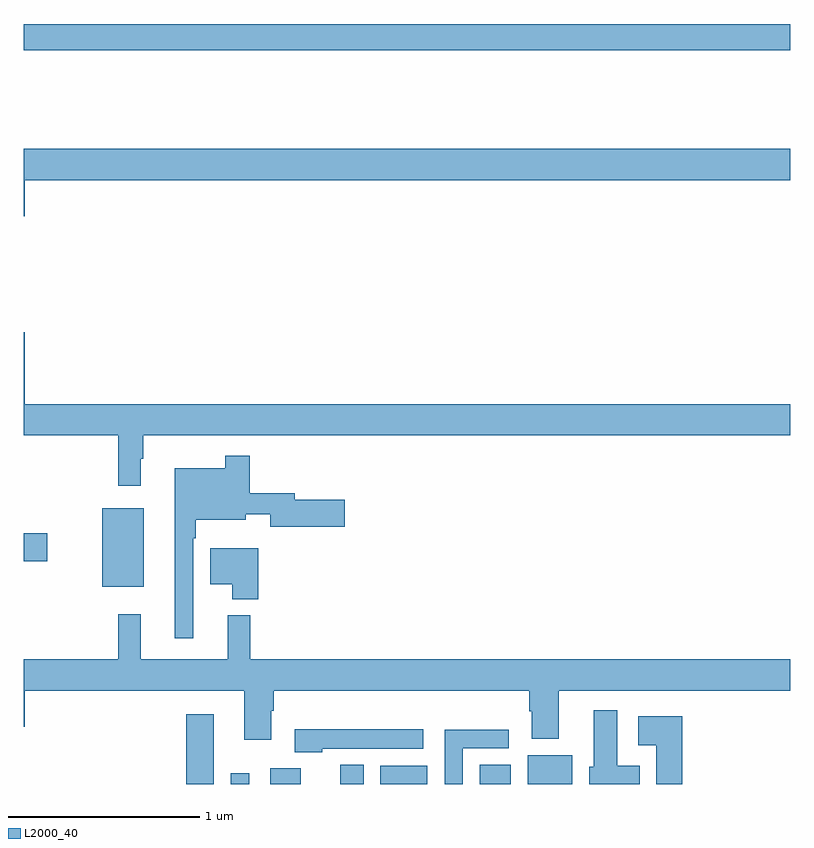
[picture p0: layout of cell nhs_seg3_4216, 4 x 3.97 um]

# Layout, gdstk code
import gdstk
lib = gdstk.Library(unit=1e-6, precision=1e-09)
def R(c, l, rs):  # rectangles x0, y0, x1, y1
    for r in rs: c.add(gdstk.rectangle(r[:2], r[2:], *l))
def P(c, l, *ps):  # polygons
    for p in ps: c.add(gdstk.Polygon(p, *l))
L2000_40 = (2000, 40)

nhs_seg3_4216 = lib.new_cell('nhs_seg3_4216')
R(nhs_seg3_4216, L2000_40, [(333.848,728.4,333.991,728.764), (334.08,728.4,334.176,728.455), (334.286,728.4,334.444,728.482), (334.652,728.4,334.774,728.5), (334.86,728.4,335.107,728.496), (335.381,728.4,335.542,728.501), (335.63,728.4,335.863,728.551), (333.41,729.431,333.625,729.841), (333,729.563,333.121,729.71), (333,732.232,337,732.368)])
P(nhs_seg3_4216, L2000_40, [(333.004,731.552),(337,731.552),(337,731.716),(333,731.716),(333,731.364),(333.004,731.364)],
  [(333.61,730.097),(333.622,730.097),(333.622,730.22),(337,730.22),(337,730.384),(333.004,730.384),(333.004,730.759),(333,730.759),(333,730.22),(333.493,730.22),(333.493,729.957),(333.61,729.957)],
  [(333.885,729.683),(333.898,729.683),(333.898,729.779),(334.159,729.779),(334.159,729.809),(334.286,729.809),(334.286,729.743),(334.675,729.743),(334.675,729.885),(334.414,729.885),(334.414,729.919),(334.178,729.919),(334.178,730.114),(334.05,730.114),(334.05,730.048),(333.788,730.048),(333.788,729.162),(333.885,729.162)],
  [(334.223,729.631),(333.974,729.631),(333.974,729.443),(334.088,729.443),(334.088,729.365),(334.223,729.365)],
  [(334.291,728.782),(334.304,728.782),(334.304,728.888),(335.639,728.888),(335.639,728.779),(335.651,728.779),(335.651,728.636),(335.791,728.636),(335.791,728.888),(337,728.888),(337,729.052),(334.181,729.052),(334.181,729.28),(334.064,729.28),(334.064,729.052),(333.611,729.052),(333.611,729.286),(333.493,729.286),(333.493,729.052),(333,729.052),(333,728.7),(333.004,728.7),(333.004,728.888),(334.151,728.888),(334.151,728.631),(334.291,728.631)],
  [(336.214,728.494),(336.097,728.494),(336.097,728.785),(335.975,728.785),(335.975,728.49),(335.951,728.49),(335.951,728.4),(336.214,728.4)],
  [(336.437,728.755),(336.207,728.755),(336.207,728.603),(336.302,728.603),(336.302,728.4),(336.437,728.4)],
  [(334.557,728.585),(335.086,728.585),(335.086,728.686),(334.413,728.686),(334.413,728.567),(334.557,728.567)],
  [(335.292,728.586),(335.53,728.586),(335.53,728.684),(335.196,728.684),(335.196,728.4),(335.292,728.4)])

lib.write_gds('nhs_seg3_4216.gds')
